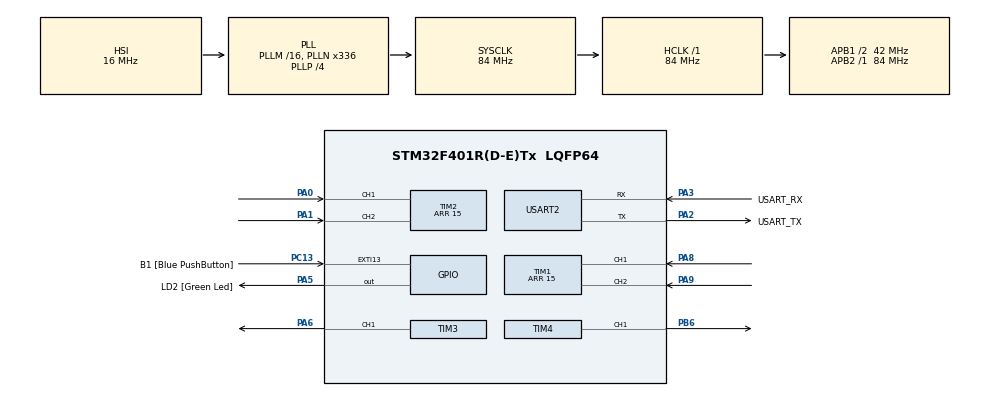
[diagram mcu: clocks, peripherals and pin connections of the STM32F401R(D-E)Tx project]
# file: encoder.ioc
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Mcu.Family=STM32F4
Mcu.Name=STM32F401R(D-E)Tx
Mcu.Package=LQFP64
NVIC.PriorityGroup=NVIC_PRIORITYGROUP_0
PA0-WKUP.Signal=S_TIM2_CH1_ETR
PA1.Signal=S_TIM2_CH2
PA13.GPIO_Label=TMS
PA13.Mode=Serial_Wire
PA13.Signal=SYS_JTMS-SWDIO
PA14.GPIO_Label=TCK
PA14.Mode=Serial_Wire
PA14.Signal=SYS_JTCK-SWCLK
PA2.GPIO_Label=USART_TX
PA2.GPIO_Mode=GPIO_MODE_AF_PP
PA2.GPIO_PuPd=GPIO_NOPULL
PA2.GPIO_Speed=GPIO_SPEED_FREQ_LOW
PA2.Mode=Asynchronous
PA2.Signal=USART2_TX
PA3.GPIO_Label=USART_RX
PA3.GPIO_Mode=GPIO_MODE_AF_PP
PA3.GPIO_PuPd=GPIO_NOPULL
PA3.GPIO_Speed=GPIO_SPEED_FREQ_LOW
PA3.Mode=Asynchronous
PA3.Signal=USART2_RX
PA5.GPIO_Label=LD2 [Green Led]
PA5.GPIO_Mode=GPIO_MODE_OUTPUT_PP
PA5.GPIO_PuPd=GPIO_NOPULL
PA5.GPIO_Speed=GPIO_SPEED_FREQ_LOW
PA5.Signal=GPIO_Output
PA6.Signal=S_TIM3_CH1
PA8.Signal=S_TIM1_CH1
PA9.Signal=S_TIM1_CH2
PB3.GPIO_Label=SWO
PB3.Signal=SYS_JTDO-SWO
PB6.Signal=S_TIM4_CH1
PC13-ANTI_TAMP.GPIO_Label=B1 [Blue PushButton]
PC13-ANTI_TAMP.GPIO_ModeDefaultEXTI=GPIO_MODE_IT_FALLING
PC13-ANTI_TAMP.GPIO_PuPd=GPIO_NOPULL
PC13-ANTI_TAMP.Signal=GPXTI13
PC14-OSC32_IN.Mode=LSE-External-Oscillator
PC14-OSC32_IN.Signal=RCC_OSC32_IN
PC15-OSC32_OUT.Mode=LSE-External-Oscillator
PC15-OSC32_OUT.Signal=RCC_OSC32_OUT
PH0\ -\ OSC_IN.Mode=HSE-External-Clock-Source
PH0\ -\ OSC_IN.Signal=RCC_OSC_IN
PH1\ -\ OSC_OUT.Mode=HSE-External-Clock-Source
PH1\ -\ OSC_OUT.Signal=RCC_OSC_OUT
ProjectManager.HeapSize=0x200
ProjectManager.StackSize=0x400
ProjectManager.TargetToolchain=STM32CubeIDE
RCC.48MHZClocksFreq_Value=48000000
RCC.AHBFreq_Value=84000000
RCC.APB1CLKDivider=RCC_HCLK_DIV2
RCC.APB1Freq_Value=42000000
RCC.APB1TimFreq_Value=84000000
RCC.APB2Freq_Value=84000000
RCC.APB2TimFreq_Value=84000000
RCC.CortexFreq_Value=84000000
RCC.HCLKFreq_Value=84000000
RCC.HSE_VALUE=8000000
RCC.HSI_VALUE=16000000
RCC.PLLN=336
RCC.PLLP=RCC_PLLP_DIV4
RCC.PLLQ=7
RCC.SYSCLKFreq_VALUE=84000000
RCC.SYSCLKSource=RCC_SYSCLKSOURCE_PLLCLK
RCC.VCOOutputFreq_Value=336000000
SH.S_TIM1_CH1.0=TIM1_CH1,Encoder_Interface
SH.S_TIM1_CH2.0=TIM1_CH2,Encoder_Interface
SH.S_TIM2_CH1_ETR.0=TIM2_CH1,Encoder_Interface
SH.S_TIM2_CH2.0=TIM2_CH2,Encoder_Interface
SH.S_TIM3_CH1.0=TIM3_CH1,PWM Generation1 CH1
SH.S_TIM4_CH1.0=TIM4_CH1,PWM Generation1 CH1
TIM1.EncoderMode=TIM_ENCODERMODE_TI12
TIM1.Period=15
TIM2.EncoderMode=TIM_ENCODERMODE_TI12
TIM2.Period=15
TIM3.Channel-PWM\ Generation1\ CH1=TIM_CHANNEL_1
TIM3.Period=999
TIM3.Prescaler=72
TIM4.Channel-PWM\ Generation1\ CH1=TIM_CHANNEL_1
TIM4.Period=999
TIM4.Prescaler=72
USART2.VirtualMode=VM_ASYNC
VP_TIM3_VS_ClockSourceINT.Mode=Internal
VP_TIM4_VS_ClockSourceINT.Mode=Internal
board=NUCLEO-F401RE

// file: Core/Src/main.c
/* USER CODE BEGIN Header */
/**
  ******************************************************************************
  * @file           : main.c
  * @brief          : Main program body
  ******************************************************************************
  * @attention
  *
  * Copyright (c) 2023 STMicroelectronics.
  * All rights reserved.
  *
  * This software is licensed under terms that can be found in the LICENSE file
  * in the root directory of this software component.
  * If no LICENSE file comes with this software, it is provided AS-IS.
  *
  ******************************************************************************
  */
/* USER CODE END Header */
#include "main.h"

/* USER CODE BEGIN Includes */
#include "stdio.h"
#include "string.h"
/* USER CODE END Includes */

TIM_HandleTypeDef htim1;
TIM_HandleTypeDef htim2;
TIM_HandleTypeDef htim3;
TIM_HandleTypeDef htim4;

UART_HandleTypeDef huart2;

void SystemClock_Config(void);
static void MX_GPIO_Init(void);
static void MX_USART2_UART_Init(void);
static void MX_TIM1_Init(void);
static void MX_TIM2_Init(void);
static void MX_TIM3_Init(void);
static void MX_TIM4_Init(void);

int main(void)
{

  /* MCU Configuration--------------------------------------------------------*/

  /* Reset of all peripherals, Initializes the Flash interface and the Systick. */
  HAL_Init();

  /* Configure the system clock */
  SystemClock_Config();

  /* Initialize all configured peripherals */
  MX_GPIO_Init();
  MX_USART2_UART_Init();
  MX_TIM1_Init();
  MX_TIM2_Init();
  MX_TIM3_Init();
  MX_TIM4_Init();
  /* USER CODE BEGIN 2 */
  HAL_TIM_Encoder_Start(&htim1,TIM_CHANNEL_ALL);
  HAL_TIM_Encoder_Start(&htim2,TIM_CHANNEL_ALL);
  int cnt1 = 0;
  int cnt2 = 0;
  float width1 = 0;
  float width2 = 0;
  HAL_TIM_PWM_Start(&htim3, TIM_CHANNEL_1);
  __HAL_TIM_SET_COMPARE(&htim3, TIM_CHANNEL_1, 0);
  HAL_TIM_PWM_Start(&htim4, TIM_CHANNEL_1);
  __HAL_TIM_SET_COMPARE(&htim4, TIM_CHANNEL_1, 0);

  /* USER CODE END 2 */

  /* Infinite loop */
  /* USER CODE BEGIN WHILE */
  while (1)
  {
	cnt1 = TIM1 -> CNT;
	cnt2 = TIM2 -> CNT;
//	if(cnt1 > 8 || cnt1 < 0) __HAL_TIM_SET_COMPARE(&htim3, TIM_CHANNEL_1, 255);
//	else __HAL_TIM_SET_COMPARE(&htim3, TIM_CHANNEL_1, 0);
	width1 = cnt1/16.0f*1000;
	__HAL_TIM_SET_COMPARE(&htim3, TIM_CHANNEL_1, width1);
//	if(cnt2 > 8 || cnt2 < 0) __HAL_TIM_SET_COMPARE(&htim4, TIM_CHANNEL_1, 255);
//	else __HAL_TIM_SET_COMPARE(&htim4, TIM_CHANNEL_1, 0);
	width2 = cnt2/16.0f*1000;
	__HAL_TIM_SET_COMPARE(&htim4, TIM_CHANNEL_1, width2);
    /* USER CODE END WHILE */

  }
}

void SystemClock_Config(void)
{
  RCC_OscInitTypeDef RCC_OscInitStruct = {0};
  RCC_ClkInitTypeDef RCC_ClkInitStruct = {0};

  /** Configure the main internal regulator output voltage
  */
  __HAL_RCC_PWR_CLK_ENABLE();
  __HAL_PWR_VOLTAGESCALING_CONFIG(PWR_REGULATOR_VOLTAGE_SCALE2);

  /** Initializes the RCC Oscillators according to the specified parameters
  * in the RCC_OscInitTypeDef structure.
  */
  RCC_OscInitStruct.OscillatorType = RCC_OSCILLATORTYPE_HSI;
  RCC_OscInitStruct.HSIState = RCC_HSI_ON;
  RCC_OscInitStruct.HSICalibrationValue = RCC_HSICALIBRATION_DEFAULT;
  RCC_OscInitStruct.PLL.PLLState = RCC_PLL_ON;
  RCC_OscInitStruct.PLL.PLLSource = RCC_PLLSOURCE_HSI;
  RCC_OscInitStruct.PLL.PLLM = 16;
  RCC_OscInitStruct.PLL.PLLN = 336;
  RCC_OscInitStruct.PLL.PLLP = RCC_PLLP_DIV4;
  RCC_OscInitStruct.PLL.PLLQ = 7;
  if (HAL_RCC_OscConfig(&RCC_OscInitStruct) != HAL_OK)
  {
    Error_Handler();
  }

  /** Initializes the CPU, AHB and APB buses clocks
  */
  RCC_ClkInitStruct.ClockType = RCC_CLOCKTYPE_HCLK|RCC_CLOCKTYPE_SYSCLK
                              |RCC_CLOCKTYPE_PCLK1|RCC_CLOCKTYPE_PCLK2;
  RCC_ClkInitStruct.SYSCLKSource = RCC_SYSCLKSOURCE_PLLCLK;
  RCC_ClkInitStruct.AHBCLKDivider = RCC_SYSCLK_DIV1;
  RCC_ClkInitStruct.APB1CLKDivider = RCC_HCLK_DIV2;
  RCC_ClkInitStruct.APB2CLKDivider = RCC_HCLK_DIV1;

  if (HAL_RCC_ClockConfig(&RCC_ClkInitStruct, FLASH_LATENCY_2) != HAL_OK)
  {
    Error_Handler();
  }
}

static void MX_TIM1_Init(void)
{

  TIM_Encoder_InitTypeDef sConfig = {0};
  TIM_MasterConfigTypeDef sMasterConfig = {0};

  htim1.Instance = TIM1;
  htim1.Init.Prescaler = 0;
  htim1.Init.CounterMode = TIM_COUNTERMODE_UP;
  htim1.Init.Period = 15;
  htim1.Init.ClockDivision = TIM_CLOCKDIVISION_DIV1;
  htim1.Init.RepetitionCounter = 0;
  htim1.Init.AutoReloadPreload = TIM_AUTORELOAD_PRELOAD_DISABLE;
  sConfig.EncoderMode = TIM_ENCODERMODE_TI12;
  sConfig.IC1Polarity = TIM_ICPOLARITY_RISING;
  sConfig.IC1Selection = TIM_ICSELECTION_DIRECTTI;
  sConfig.IC1Prescaler = TIM_ICPSC_DIV1;
  sConfig.IC1Filter = 0;
  sConfig.IC2Polarity = TIM_ICPOLARITY_RISING;
  sConfig.IC2Selection = TIM_ICSELECTION_DIRECTTI;
  sConfig.IC2Prescaler = TIM_ICPSC_DIV1;
  sConfig.IC2Filter = 0;
  if (HAL_TIM_Encoder_Init(&htim1, &sConfig) != HAL_OK)
  {
    Error_Handler();
  }
  sMasterConfig.MasterOutputTrigger = TIM_TRGO_RESET;
  sMasterConfig.MasterSlaveMode = TIM_MASTERSLAVEMODE_DISABLE;
  if (HAL_TIMEx_MasterConfigSynchronization(&htim1, &sMasterConfig) != HAL_OK)
  {
    Error_Handler();
  }

}

static void MX_TIM2_Init(void)
{

  TIM_Encoder_InitTypeDef sConfig = {0};
  TIM_MasterConfigTypeDef sMasterConfig = {0};

  htim2.Instance = TIM2;
  htim2.Init.Prescaler = 0;
  htim2.Init.CounterMode = TIM_COUNTERMODE_UP;
  htim2.Init.Period = 15;
  htim2.Init.ClockDivision = TIM_CLOCKDIVISION_DIV1;
  htim2.Init.AutoReloadPreload = TIM_AUTORELOAD_PRELOAD_DISABLE;
  sConfig.EncoderMode = TIM_ENCODERMODE_TI12;
  sConfig.IC1Polarity = TIM_ICPOLARITY_RISING;
  sConfig.IC1Selection = TIM_ICSELECTION_DIRECTTI;
  sConfig.IC1Prescaler = TIM_ICPSC_DIV1;
  sConfig.IC1Filter = 0;
  sConfig.IC2Polarity = TIM_ICPOLARITY_RISING;
  sConfig.IC2Selection = TIM_ICSELECTION_DIRECTTI;
  sConfig.IC2Prescaler = TIM_ICPSC_DIV1;
  sConfig.IC2Filter = 0;
  if (HAL_TIM_Encoder_Init(&htim2, &sConfig) != HAL_OK)
  {
    Error_Handler();
  }
  sMasterConfig.MasterOutputTrigger = TIM_TRGO_RESET;
  sMasterConfig.MasterSlaveMode = TIM_MASTERSLAVEMODE_DISABLE;
  if (HAL_TIMEx_MasterConfigSynchronization(&htim2, &sMasterConfig) != HAL_OK)
  {
    Error_Handler();
  }

}

static void MX_TIM3_Init(void)
{

  TIM_ClockConfigTypeDef sClockSourceConfig = {0};
  TIM_MasterConfigTypeDef sMasterConfig = {0};
  TIM_OC_InitTypeDef sConfigOC = {0};

  htim3.Instance = TIM3;
  htim3.Init.Prescaler = 72;
  htim3.Init.CounterMode = TIM_COUNTERMODE_UP;
  htim3.Init.Period = 999;
  htim3.Init.ClockDivision = TIM_CLOCKDIVISION_DIV1;
  htim3.Init.AutoReloadPreload = TIM_AUTORELOAD_PRELOAD_DISABLE;
  if (HAL_TIM_Base_Init(&htim3) != HAL_OK)
  {
    Error_Handler();
  }
  sClockSourceConfig.ClockSource = TIM_CLOCKSOURCE_INTERNAL;
  if (HAL_TIM_ConfigClockSource(&htim3, &sClockSourceConfig) != HAL_OK)
  {
    Error_Handler();
  }
  if (HAL_TIM_PWM_Init(&htim3) != HAL_OK)
  {
    Error_Handler();
  }
  sMasterConfig.MasterOutputTrigger = TIM_TRGO_RESET;
  sMasterConfig.MasterSlaveMode = TIM_MASTERSLAVEMODE_DISABLE;
  if (HAL_TIMEx_MasterConfigSynchronization(&htim3, &sMasterConfig) != HAL_OK)
  {
    Error_Handler();
  }
  sConfigOC.OCMode = TIM_OCMODE_PWM1;
  sConfigOC.Pulse = 0;
  sConfigOC.OCPolarity = TIM_OCPOLARITY_HIGH;
  sConfigOC.OCFastMode = TIM_OCFAST_DISABLE;
  if (HAL_TIM_PWM_ConfigChannel(&htim3, &sConfigOC, TIM_CHANNEL_1) != HAL_OK)
  {
    Error_Handler();
  }
  HAL_TIM_MspPostInit(&htim3);

}

static void MX_TIM4_Init(void)
{

  TIM_ClockConfigTypeDef sClockSourceConfig = {0};
  TIM_MasterConfigTypeDef sMasterConfig = {0};
  TIM_OC_InitTypeDef sConfigOC = {0};

  htim4.Instance = TIM4;
  htim4.Init.Prescaler = 72;
  htim4.Init.CounterMode = TIM_COUNTERMODE_UP;
  htim4.Init.Period = 999;
  htim4.Init.ClockDivision = TIM_CLOCKDIVISION_DIV1;
  htim4.Init.AutoReloadPreload = TIM_AUTORELOAD_PRELOAD_DISABLE;
  if (HAL_TIM_Base_Init(&htim4) != HAL_OK)
  {
    Error_Handler();
  }
  sClockSourceConfig.ClockSource = TIM_CLOCKSOURCE_INTERNAL;
  if (HAL_TIM_ConfigClockSource(&htim4, &sClockSourceConfig) != HAL_OK)
  {
    Error_Handler();
  }
  if (HAL_TIM_PWM_Init(&htim4) != HAL_OK)
  {
    Error_Handler();
  }
  sMasterConfig.MasterOutputTrigger = TIM_TRGO_RESET;
  sMasterConfig.MasterSlaveMode = TIM_MASTERSLAVEMODE_DISABLE;
  if (HAL_TIMEx_MasterConfigSynchronization(&htim4, &sMasterConfig) != HAL_OK)
  {
    Error_Handler();
  }
  sConfigOC.OCMode = TIM_OCMODE_PWM1;
  sConfigOC.Pulse = 0;
  sConfigOC.OCPolarity = TIM_OCPOLARITY_HIGH;
  sConfigOC.OCFastMode = TIM_OCFAST_DISABLE;
  if (HAL_TIM_PWM_ConfigChannel(&htim4, &sConfigOC, TIM_CHANNEL_1) != HAL_OK)
  {
    Error_Handler();
  }
  HAL_TIM_MspPostInit(&htim4);

}

static void MX_USART2_UART_Init(void)
{

  huart2.Instance = USART2;
  huart2.Init.BaudRate = 115200;
  huart2.Init.WordLength = UART_WORDLENGTH_8B;
  huart2.Init.StopBits = UART_STOPBITS_1;
  huart2.Init.Parity = UART_PARITY_NONE;
  huart2.Init.Mode = UART_MODE_TX_RX;
  huart2.Init.HwFlowCtl = UART_HWCONTROL_NONE;
  huart2.Init.OverSampling = UART_OVERSAMPLING_16;
  if (HAL_UART_Init(&huart2) != HAL_OK)
  {
    Error_Handler();
  }

}

static void MX_GPIO_Init(void)
{
  GPIO_InitTypeDef GPIO_InitStruct = {0};

  /* GPIO Ports Clock Enable */
  __HAL_RCC_GPIOC_CLK_ENABLE();
  __HAL_RCC_GPIOH_CLK_ENABLE();
  __HAL_RCC_GPIOA_CLK_ENABLE();
  __HAL_RCC_GPIOB_CLK_ENABLE();

  /*Configure GPIO pin Output Level */
  HAL_GPIO_WritePin(LD2_GPIO_Port, LD2_Pin, GPIO_PIN_RESET);

  /*Configure GPIO pin : B1_Pin */
  GPIO_InitStruct.Pin = B1_Pin;
  GPIO_InitStruct.Mode = GPIO_MODE_IT_FALLING;
  GPIO_InitStruct.Pull = GPIO_NOPULL;
  HAL_GPIO_Init(B1_GPIO_Port, &GPIO_InitStruct);

  /*Configure GPIO pin : LD2_Pin */
  GPIO_InitStruct.Pin = LD2_Pin;
  GPIO_InitStruct.Mode = GPIO_MODE_OUTPUT_PP;
  GPIO_InitStruct.Pull = GPIO_NOPULL;
  GPIO_InitStruct.Speed = GPIO_SPEED_FREQ_LOW;
  HAL_GPIO_Init(LD2_GPIO_Port, &GPIO_InitStruct);

}

void Error_Handler(void)
{
  __disable_irq();
  while (1)
  {
  }
}
